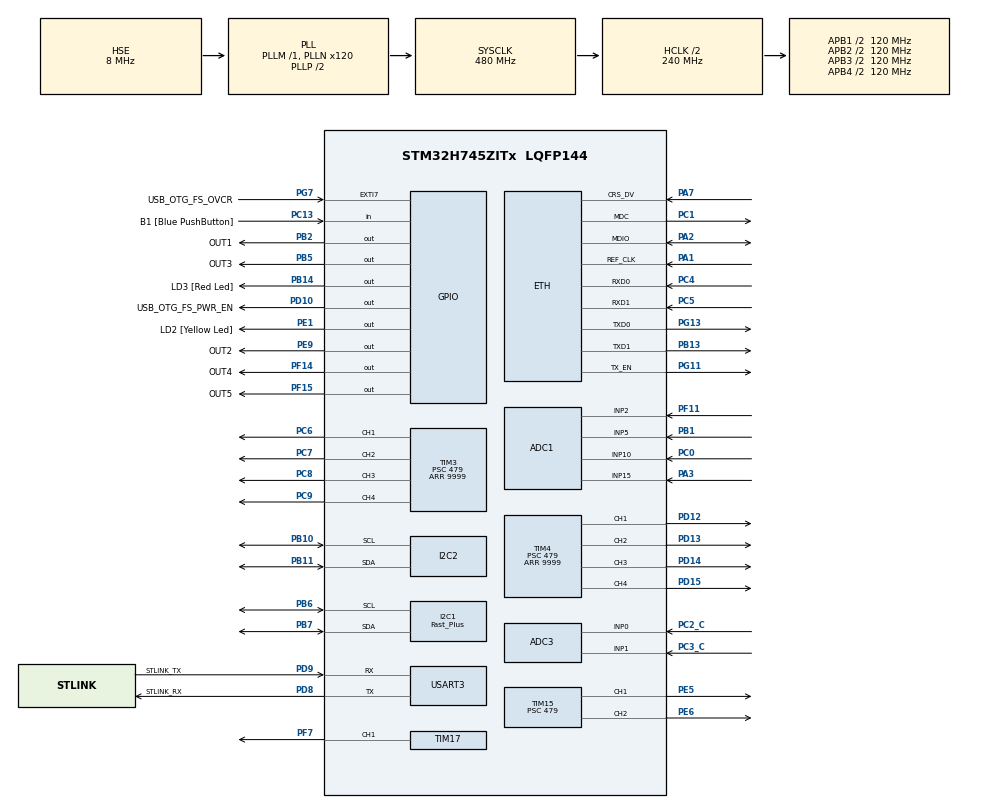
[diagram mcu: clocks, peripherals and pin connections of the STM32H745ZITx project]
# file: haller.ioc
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ADC1.Channel-0\#ChannelRegularConversion=ADC_CHANNEL_15
ADC1.ClockPrescaler=ADC_CLOCK_ASYNC_DIV32
ADC1.ContinuousConvMode=ENABLE
ADC1.NbrOfConversionFlag=1
ADC1.OffsetNumber-0\#ChannelRegularConversion=ADC_OFFSET_NONE
ADC1.OffsetSignedSaturation-0\#ChannelRegularConversion=DISABLE
ADC1.Rank-0\#ChannelRegularConversion=1
ADC1.SamplingTime-0\#ChannelRegularConversion=ADC_SAMPLETIME_1CYCLE_5
ADC1.master=1
ADC3.Channel-2\#ChannelRegularConversion=ADC_CHANNEL_0
ADC3.ClockPrescaler=ADC_CLOCK_ASYNC_DIV32
ADC3.NbrOfConversionFlag=1
ADC3.OffsetNumber-2\#ChannelRegularConversion=ADC_OFFSET_NONE
ADC3.OffsetSignedSaturation-2\#ChannelRegularConversion=DISABLE
ADC3.Rank-2\#ChannelRegularConversion=1
ADC3.SamplingTime-2\#ChannelRegularConversion=ADC_SAMPLETIME_1CYCLE_5
CORTEX_M7.AccessPermission-Cortex_Memory_Protection_Unit_Region0_Settings=MPU_REGION_FULL_ACCESS
CORTEX_M7.AccessPermission-Cortex_Memory_Protection_Unit_Region1_Settings=MPU_REGION_FULL_ACCESS
CORTEX_M7.BaseAddress-Cortex_Memory_Protection_Unit_Region0_Settings=0x30040000
CORTEX_M7.BaseAddress-Cortex_Memory_Protection_Unit_Region1_Settings=0x30040000
CORTEX_M7.CPU_DCache=Enabled
CORTEX_M7.CPU_ICache=Enabled
CORTEX_M7.DisableExec-Cortex_Memory_Protection_Unit_Region0_Settings=MPU_INSTRUCTION_ACCESS_DISABLE
CORTEX_M7.DisableExec-Cortex_Memory_Protection_Unit_Region1_Settings=MPU_INSTRUCTION_ACCESS_DISABLE
CORTEX_M7.Enable-Cortex_Memory_Protection_Unit_Region0_Settings=MPU_REGION_ENABLE
CORTEX_M7.Enable-Cortex_Memory_Protection_Unit_Region1_Settings=MPU_REGION_ENABLE
CORTEX_M7.IsBufferable-Cortex_Memory_Protection_Unit_Region1_Settings=MPU_ACCESS_BUFFERABLE
CORTEX_M7.IsShareable-Cortex_Memory_Protection_Unit_Region1_Settings=MPU_ACCESS_SHAREABLE
CORTEX_M7.MPU_Control=MPU_PRIVILEGED_DEFAULT
CORTEX_M7.Size-Cortex_Memory_Protection_Unit_Region0_Settings=MPU_REGION_SIZE_32KB
CORTEX_M7.Size-Cortex_Memory_Protection_Unit_Region1_Settings=MPU_REGION_SIZE_256B
CORTEX_M7.TypeExtField-Cortex_Memory_Protection_Unit_Region0_Settings=MPU_TEX_LEVEL1
CortexM4.IPs=FATFS_M4\:I,FREERTOS_M4\:I,IWDG2\:I,RCC,WWDG2\:I,DMA,BDMA,MDMA,NVIC2\:I,USART3,ETH,DEBUG,USB_DEVICE_M4\:I,USB_HOST_M4\:I,PDM2PCM_M4\:I,PWR,RESMGR_UTILITY,SYS_M4\:I,CORTEX_M4\:I,OPENAMP_M4\:I,VREFBUF,LWIP
CortexM7.IPs=FATFS_M7\:I,FREERTOS_M7\:I,IWDG1\:I,RCC\:I,WWDG1\:I,DMA\:I,BDMA\:I,MDMA\:I,NVIC1\:I,SYS\:I,USART3\:I,USB_OTG_FS\:I,ETH\:I,CORTEX_M7\:I,DEBUG\:I,USB_DEVICE_M7\:I,USB_HOST_M7\:I,PDM2PCM_M7\:I,PWR\:I,RESMGR_UTILITY\:I,OPENAMP_M7\:I,VREFBUF\:I,LWIP\:I,I2C1\:I,TIM3\:I,TIM15\:I,I2C2\:I,TIM4\:I,TIM17\:I,ADC1\:I,ADC3\:I
ETH.MediaInterface=HAL_ETH_RMII_MODE
I2C1.I2C_Speed_Mode=I2C_Fast_Plus
I2C1.Timing=0x0050174F
I2C2.Timing=0x307075B1
IWDG1.Prescaler=IWDG_PRESCALER_32
LWIP.BSP.number=1
LWIP.IP_ADDRESS=192.168.069.100
LWIP.LWIP_DHCP=0
LWIP.MEMP_NUM_TCP_PCB=2
LWIP.MEMP_NUM_UDP_PCB=2
LWIP.MEM_SIZE=16360
LWIP.NETMASK_ADDRESS=255.255.255.000
LWIP.Version=v2.1.2_Cube
LWIP0.BSP.STBoard=false
LWIP0.BSP.api=BSP_COMPONENT_DRIVER
LWIP0.BSP.component=LAN8742
LWIP0.BSP.instance=LAN8742
LWIP0.BSP.name=Driver_PHY
LWIP0.BSP.solution=LAN8742
Mcu.Family=STM32H7
Mcu.Name=STM32H745ZITx
Mcu.Package=LQFP144
NVIC1.ETH_IRQn=true\:0\:0\:false\:false\:true\:true\:true\:true
NVIC1.I2C1_ER_IRQn=true\:0\:0\:false\:false\:true\:true\:true\:true
NVIC1.I2C1_EV_IRQn=true\:0\:0\:false\:false\:true\:true\:true\:true
NVIC1.PriorityGroup=NVIC_PRIORITYGROUP_4
NVIC2.PriorityGroup=NVIC_PRIORITYGROUP_4
PA1.Mode=RMII
PA1.PinAttribute=CortexM7
PA1.Signal=ETH_REF_CLK
PA13\ (JTMS/SWDIO).Mode=Serial_Wire
PA13\ (JTMS/SWDIO).PinAttribute=CortexM7
PA13\ (JTMS/SWDIO).Signal=DEBUG_JTMS-SWDIO
PA14\ (JTCK/SWCLK).Mode=Serial_Wire
PA14\ (JTCK/SWCLK).PinAttribute=CortexM7
PA14\ (JTCK/SWCLK).Signal=DEBUG_JTCK-SWCLK
PA2.Mode=RMII
PA2.PinAttribute=CortexM7
PA2.Signal=ETH_MDIO
PA3.PinAttribute=CortexM7
PA3.Signal=ADCx_INP15
PA7.Mode=RMII
PA7.PinAttribute=CortexM7
PA7.Signal=ETH_CRS_DV
PB1.PinAttribute=CortexM7
PB1.Signal=ADCx_INP5
PB10.Mode=I2C
PB10.PinAttribute=CortexM7
PB10.Signal=I2C2_SCL
PB11.Mode=I2C
PB11.PinAttribute=CortexM7
PB11.Signal=I2C2_SDA
PB13.Mode=RMII
PB13.PinAttribute=CortexM7
PB13.Signal=ETH_TXD1
PB14.GPIO_Label=LD3 [Red Led]
PB14.PinAttribute=Free
PB14.Signal=GPIO_Output
PB2.GPIO_Label=OUT1
PB2.PinAttribute=Free
PB2.Signal=GPIO_Output
PB5.GPIO_Label=OUT3
PB5.PinAttribute=Free
PB5.Signal=GPIO_Output
PB6.Mode=I2C
PB6.PinAttribute=CortexM7
PB6.Signal=I2C1_SCL
PB7.Mode=I2C
PB7.PinAttribute=CortexM7
PB7.Signal=I2C1_SDA
PC0.PinAttribute=CortexM7
PC0.Signal=ADCx_INP10
PC1.Mode=RMII
PC1.PinAttribute=CortexM7
PC1.Signal=ETH_MDC
PC13.GPIO_Label=B1 [Blue PushButton]
PC13.PinAttribute=Free
PC13.Signal=GPIO_Input
PC14-OSC32_IN\ (OSC32_IN).Mode=LSE-External-Oscillator
PC14-OSC32_IN\ (OSC32_IN).PinAttribute=CortexM7
PC14-OSC32_IN\ (OSC32_IN).Signal=RCC_OSC32_IN
PC15-OSC32_OUT\ (OSC32_OUT).Mode=LSE-External-Oscillator
PC15-OSC32_OUT\ (OSC32_OUT).PinAttribute=CortexM7
PC15-OSC32_OUT\ (OSC32_OUT).Signal=RCC_OSC32_OUT
PC2_C.Mode=IN0-Single-Ended
PC2_C.PinAttribute=CortexM7
PC2_C.Signal=ADC3_INP0
PC3_C.Mode=IN1-Single-Ended
PC3_C.PinAttribute=CortexM7
PC3_C.Signal=ADC3_INP1
PC4.Mode=RMII
PC4.PinAttribute=CortexM7
PC4.Signal=ETH_RXD0
PC5.Mode=RMII
PC5.PinAttribute=CortexM7
PC5.Signal=ETH_RXD1
PC6.PinAttribute=CortexM7
PC6.Signal=S_TIM3_CH1
PC7.PinAttribute=CortexM7
PC7.Signal=S_TIM3_CH2
PC8.PinAttribute=CortexM7
PC8.Signal=S_TIM3_CH3
PC9.PinAttribute=CortexM7
PC9.Signal=S_TIM3_CH4
PD10.GPIO_Label=USB_OTG_FS_PWR_EN
PD10.PinAttribute=Free
PD10.Signal=GPIO_Output
PD12.PinAttribute=CortexM7
PD12.Signal=S_TIM4_CH1
PD13.PinAttribute=CortexM7
PD13.Signal=S_TIM4_CH2
PD14.PinAttribute=CortexM7
PD14.Signal=S_TIM4_CH3
PD15.PinAttribute=CortexM7
PD15.Signal=S_TIM4_CH4
PD8.GPIO_Label=STLINK_RX
PD8.Mode=Asynchronous
PD8.PinAttribute=CortexM7
PD8.Signal=USART3_TX
PD9.GPIO_Label=STLINK_TX
PD9.Mode=Asynchronous
PD9.PinAttribute=CortexM7
PD9.Signal=USART3_RX
PE1.GPIO_Label=LD2 [Yellow Led]
PE1.PinAttribute=Free
PE1.Signal=GPIO_Output
PE5.PinAttribute=CortexM7
PE5.Signal=S_TIM15_CH1
PE6.PinAttribute=CortexM7
PE6.Signal=S_TIM15_CH2
PE9.GPIO_Label=OUT2
PE9.PinAttribute=Free
PE9.Signal=GPIO_Output
PF11.Mode=IN2-Single-Ended
PF11.PinAttribute=CortexM7
PF11.Signal=ADC1_INP2
PF14.GPIO_Label=OUT4
PF14.PinAttribute=Free
PF14.Signal=GPIO_Output
PF15.GPIO_Label=OUT5
PF15.PinAttribute=Free
PF15.Signal=GPIO_Output
PF7.PinAttribute=CortexM7
PF7.Signal=S_TIM17_CH1
PG11.Mode=RMII
PG11.PinAttribute=CortexM7
PG11.Signal=ETH_TX_EN
PG13.Mode=RMII
PG13.PinAttribute=CortexM7
PG13.Signal=ETH_TXD0
PG7.GPIO_Label=USB_OTG_FS_OVCR
PG7.PinAttribute=Free
PG7.Signal=GPXTI7
PH0-OSC_IN\ (PH0).Mode=HSE-External-Clock-Source
PH0-OSC_IN\ (PH0).PinAttribute=CortexM7
PH0-OSC_IN\ (PH0).Signal=RCC_OSC_IN
PH1-OSC_OUT\ (PH1).PinAttribute=CortexM7
PH1-OSC_OUT\ (PH1).Signal=RCC_OSC_OUT
ProjectManager.HeapSize=M4-0x400,M7-0x800
ProjectManager.StackSize=M4-0xf00,M7-0x4000
ProjectManager.TargetToolchain=STM32CubeIDE
RCC.ADCFreq_Value=48000000
RCC.APB1Freq_Value=120000000
RCC.APB2Freq_Value=120000000
RCC.APB3Freq_Value=120000000
RCC.APB4Freq_Value=120000000
RCC.CortexFreq_Value=480000000
RCC.D1PPRE=RCC_APB3_DIV2
RCC.D2PPRE1=RCC_APB1_DIV2
RCC.D2PPRE2=RCC_APB2_DIV2
RCC.D3PPRE=RCC_APB4_DIV2
RCC.DIVM1=1
RCC.DIVM2=1
RCC.DIVM3=1
RCC.DIVN1=120
RCC.DIVN2=120
RCC.DIVN3=24
RCC.DIVP2=20
RCC.DIVQ3=4
RCC.HCLKFreq_Value=240000000
RCC.HPRE=RCC_HCLK_DIV2
RCC.HSE_VALUE=8000000
RCC.PLL2FRACN=0
RCC.PLL3FRACN=0
RCC.PLLFRACN=0
RCC.PLLSourceVirtual=RCC_PLLSOURCE_HSE
RCC.SYSCLKFreq_VALUE=480000000
RCC.SYSCLKSource=RCC_SYSCLKSOURCE_PLLCLK
RCC.SupplySource=PWR_DIRECT_SMPS_SUPPLY
RCC.USBCLockSelection=RCC_USBCLKSOURCE_PLL3
RCC.USBFreq_Value=48000000
SH.ADCx_INP10.0=ADC1_INP10,IN10-Single-Ended
SH.ADCx_INP15.0=ADC1_INP15,IN15-Single-Ended
SH.ADCx_INP5.0=ADC1_INP5,IN5-Single-Ended
SH.S_TIM15_CH1.0=TIM15_CH1,PWM Generation1 CH1
SH.S_TIM15_CH2.0=TIM15_CH2,PWM Generation2 CH2
SH.S_TIM17_CH1.0=TIM17_CH1,PWM Generation1 CH1
SH.S_TIM3_CH1.0=TIM3_CH1,PWM Generation1 CH1
SH.S_TIM3_CH2.0=TIM3_CH2,PWM Generation2 CH2
SH.S_TIM3_CH3.0=TIM3_CH3,PWM Generation3 CH3
SH.S_TIM3_CH4.0=TIM3_CH4,PWM Generation4 CH4
SH.S_TIM4_CH1.0=TIM4_CH1,PWM Generation1 CH1
SH.S_TIM4_CH2.0=TIM4_CH2,PWM Generation2 CH2
SH.S_TIM4_CH3.0=TIM4_CH3,PWM Generation3 CH3
SH.S_TIM4_CH4.0=TIM4_CH4,PWM Generation4 CH4
TIM15.Channel-PWM\ Generation1\ CH1=TIM_CHANNEL_1
TIM15.Channel-PWM\ Generation2\ CH2=TIM_CHANNEL_2
TIM15.Period=9999
TIM15.Prescaler=479
TIM17.Channel=TIM_CHANNEL_1
TIM17.Period=9999
TIM17.Prescaler=479
TIM3.Channel-PWM\ Generation1\ CH1=TIM_CHANNEL_1
TIM3.Channel-PWM\ Generation2\ CH2=TIM_CHANNEL_2
TIM3.Channel-PWM\ Generation3\ CH3=TIM_CHANNEL_3
TIM3.Channel-PWM\ Generation4\ CH4=TIM_CHANNEL_4
TIM3.Period=9999
TIM3.Prescaler=479
TIM4.Channel-PWM\ Generation1\ CH1=TIM_CHANNEL_1
TIM4.Channel-PWM\ Generation2\ CH2=TIM_CHANNEL_2
TIM4.Channel-PWM\ Generation3\ CH3=TIM_CHANNEL_3
TIM4.Channel-PWM\ Generation4\ CH4=TIM_CHANNEL_4
TIM4.Period=9999
TIM4.Prescaler=479
USART3.VirtualMode-Asynchronous=VM_ASYNC
VP_IWDG1_VS_IWDG.Mode=IWDG_Activate
VP_LWIP_VS_Enabled.Mode=Enabled
VP_SYS_M4_VS_Systick.Mode=SysTick
VP_TIM17_VS_ClockSourceINT.Mode=Enable_Timer
board=NUCLEO-H745ZI-Q

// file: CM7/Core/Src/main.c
/* USER CODE BEGIN Header */
/**
  ******************************************************************************
  * @file           : main.c
  * @brief          : Main program body
  ******************************************************************************
  * @attention
  *
  * <h2><center>&copy; Copyright (c) 2024 STMicroelectronics.
  * All rights reserved.</center></h2>
  *
  * This software component is licensed by ST under Ultimate Liberty license
  * SLA0044, the "License"; You may not use this file except in compliance with
  * the License. You may obtain a copy of the License at:
  *                             www.st.com/SLA0044
  *
  ******************************************************************************
  */
/* USER CODE END Header */
#include "main.h"
#include "lwip.h"

/* USER CODE BEGIN Includes */
#include "lan.h"
#include "proto.h"
#include "motor.h"
#include "servo.h"
#include "pwm.h"
#include "gripper.h"
/* USER CODE END Includes */

/* USER CODE BEGIN PD */

#ifndef HSEM_ID_0
#define HSEM_ID_0 (0U) /* HW semaphore 0*/
#endif
/* USER CODE END PD */

ADC_HandleTypeDef hadc1;
ADC_HandleTypeDef hadc3;

I2C_HandleTypeDef hi2c1;
I2C_HandleTypeDef hi2c2;

IWDG_HandleTypeDef hiwdg1;

TIM_HandleTypeDef htim3;
TIM_HandleTypeDef htim4;
TIM_HandleTypeDef htim15;
TIM_HandleTypeDef htim17;

UART_HandleTypeDef huart3;

void SystemClock_Config(void);
void PeriphCommonClock_Config(void);
static void MPU_Config(void);
static void MX_GPIO_Init(void);
static void MX_USART3_UART_Init(void);
static void MX_I2C1_Init(void);
static void MX_TIM3_Init(void);
static void MX_TIM15_Init(void);
static void MX_IWDG1_Init(void);
static void MX_I2C2_Init(void);
static void MX_ADC1_Init(void);
static void MX_ADC3_Init(void);
static void MX_TIM4_Init(void);
static void MX_TIM17_Init(void);

int main(void)
{
/* USER CODE BEGIN Boot_Mode_Sequence_0 */
  int32_t timeout;
/* USER CODE END Boot_Mode_Sequence_0 */

  /* MPU Configuration--------------------------------------------------------*/
  MPU_Config();

  /* Enable I-Cache---------------------------------------------------------*/
  SCB_EnableICache();

  /* Enable D-Cache---------------------------------------------------------*/
  SCB_EnableDCache();

/* USER CODE BEGIN Boot_Mode_Sequence_1 */
  /* Wait until CPU2 boots and enters in stop mode or timeout*/
  timeout = 0xFFFF;
//  while((__HAL_RCC_GET_FLAG(RCC_FLAG_D2CKRDY) != RESET) && (timeout-- > 0));
//  if ( timeout < 0 )
//  {
//  Error_Handler();
//  }
/* USER CODE END Boot_Mode_Sequence_1 */
  /* MCU Configuration--------------------------------------------------------*/

  /* Reset of all peripherals, Initializes the Flash interface and the Systick. */
  HAL_Init();

  /* Configure the system clock */
  SystemClock_Config();

/* Configure the peripherals common clocks */
  PeriphCommonClock_Config();
/* USER CODE BEGIN Boot_Mode_Sequence_2 */
/* When system initialization is finished, Cortex-M7 will release Cortex-M4 by means of
HSEM notification */
/*HW semaphore Clock enable*/
__HAL_RCC_HSEM_CLK_ENABLE();
/*Take HSEM */
HAL_HSEM_FastTake(HSEM_ID_0);
/*Release HSEM in order to notify the CPU2(CM4)*/
HAL_HSEM_Release(HSEM_ID_0,0);
/* wait until CPU2 wakes up from stop mode */
timeout = 0xFFFF;
while((__HAL_RCC_GET_FLAG(RCC_FLAG_D2CKRDY) == RESET) && (timeout-- > 0));
if ( timeout < 0 )
{
Error_Handler();
}
/* USER CODE END Boot_Mode_Sequence_2 */

  /* Initialize all configured peripherals */
  MX_GPIO_Init();
  MX_USART3_UART_Init();
  MX_LWIP_Init();
  MX_I2C1_Init();
  MX_TIM3_Init();
  MX_TIM15_Init();
  MX_IWDG1_Init();
  MX_I2C2_Init();
  MX_ADC1_Init();
  MX_ADC3_Init();
  MX_TIM4_Init();
  MX_TIM17_Init();
  /* USER CODE BEGIN 2 */
  HAL_IWDG_Refresh(&hiwdg1);
  MX_LWIP_Refresh();

  PwmInit();
  LanInit(&ProtoParse);
  MotorInit();
  ServoInit();
  GripperInit();
  /* USER CODE END 2 */

  /* Infinite loop */
  /* USER CODE BEGIN WHILE */
  while (1)
  {
	  HAL_IWDG_Refresh(&hiwdg1);
	  MX_LWIP_Refresh();
    /* USER CODE END WHILE */

  }
}

void SystemClock_Config(void)
{
  RCC_OscInitTypeDef RCC_OscInitStruct = {0};
  RCC_ClkInitTypeDef RCC_ClkInitStruct = {0};

  /** Supply configuration update enable
  */
  HAL_PWREx_ConfigSupply(PWR_DIRECT_SMPS_SUPPLY);
  /** Configure the main internal regulator output voltage
  */
  __HAL_PWR_VOLTAGESCALING_CONFIG(PWR_REGULATOR_VOLTAGE_SCALE0);

  while(!__HAL_PWR_GET_FLAG(PWR_FLAG_VOSRDY)) {}
  /** Macro to configure the PLL clock source
  */
  __HAL_RCC_PLL_PLLSOURCE_CONFIG(RCC_PLLSOURCE_HSE);
  /** Initializes the RCC Oscillators according to the specified parameters
  * in the RCC_OscInitTypeDef structure.
  */
  RCC_OscInitStruct.OscillatorType = RCC_OSCILLATORTYPE_LSI|RCC_OSCILLATORTYPE_HSE;
  RCC_OscInitStruct.HSEState = RCC_HSE_BYPASS;
  RCC_OscInitStruct.LSIState = RCC_LSI_ON;
  RCC_OscInitStruct.PLL.PLLState = RCC_PLL_ON;
  RCC_OscInitStruct.PLL.PLLSource = RCC_PLLSOURCE_HSE;
  RCC_OscInitStruct.PLL.PLLM = 1;
  RCC_OscInitStruct.PLL.PLLN = 120;
  RCC_OscInitStruct.PLL.PLLP = 2;
  RCC_OscInitStruct.PLL.PLLQ = 2;
  RCC_OscInitStruct.PLL.PLLR = 2;
  RCC_OscInitStruct.PLL.PLLRGE = RCC_PLL1VCIRANGE_3;
  RCC_OscInitStruct.PLL.PLLVCOSEL = RCC_PLL1VCOWIDE;
  RCC_OscInitStruct.PLL.PLLFRACN = 0;
  if (HAL_RCC_OscConfig(&RCC_OscInitStruct) != HAL_OK)
  {
    Error_Handler();
  }
  /** Initializes the CPU, AHB and APB buses clocks
  */
  RCC_ClkInitStruct.ClockType = RCC_CLOCKTYPE_HCLK|RCC_CLOCKTYPE_SYSCLK
                              |RCC_CLOCKTYPE_PCLK1|RCC_CLOCKTYPE_PCLK2
                              |RCC_CLOCKTYPE_D3PCLK1|RCC_CLOCKTYPE_D1PCLK1;
  RCC_ClkInitStruct.SYSCLKSource = RCC_SYSCLKSOURCE_PLLCLK;
  RCC_ClkInitStruct.SYSCLKDivider = RCC_SYSCLK_DIV1;
  RCC_ClkInitStruct.AHBCLKDivider = RCC_HCLK_DIV2;
  RCC_ClkInitStruct.APB3CLKDivider = RCC_APB3_DIV2;
  RCC_ClkInitStruct.APB1CLKDivider = RCC_APB1_DIV2;
  RCC_ClkInitStruct.APB2CLKDivider = RCC_APB2_DIV2;
  RCC_ClkInitStruct.APB4CLKDivider = RCC_APB4_DIV2;

  if (HAL_RCC_ClockConfig(&RCC_ClkInitStruct, FLASH_LATENCY_4) != HAL_OK)
  {
    Error_Handler();
  }
}

void PeriphCommonClock_Config(void)
{
  RCC_PeriphCLKInitTypeDef PeriphClkInitStruct = {0};

  /** Initializes the peripherals clock
  */
  PeriphClkInitStruct.PeriphClockSelection = RCC_PERIPHCLK_ADC;
  PeriphClkInitStruct.PLL2.PLL2M = 1;
  PeriphClkInitStruct.PLL2.PLL2N = 120;
  PeriphClkInitStruct.PLL2.PLL2P = 20;
  PeriphClkInitStruct.PLL2.PLL2Q = 2;
  PeriphClkInitStruct.PLL2.PLL2R = 2;
  PeriphClkInitStruct.PLL2.PLL2RGE = RCC_PLL2VCIRANGE_3;
  PeriphClkInitStruct.PLL2.PLL2VCOSEL = RCC_PLL2VCOWIDE;
  PeriphClkInitStruct.PLL2.PLL2FRACN = 0;
  PeriphClkInitStruct.AdcClockSelection = RCC_ADCCLKSOURCE_PLL2;
  if (HAL_RCCEx_PeriphCLKConfig(&PeriphClkInitStruct) != HAL_OK)
  {
    Error_Handler();
  }
}

static void MX_ADC1_Init(void)
{

  ADC_MultiModeTypeDef multimode = {0};
  ADC_ChannelConfTypeDef sConfig = {0};

  /** Common config
  */
  hadc1.Instance = ADC1;
  hadc1.Init.ClockPrescaler = ADC_CLOCK_ASYNC_DIV32;
  hadc1.Init.Resolution = ADC_RESOLUTION_16B;
  hadc1.Init.ScanConvMode = ADC_SCAN_DISABLE;
  hadc1.Init.EOCSelection = ADC_EOC_SINGLE_CONV;
  hadc1.Init.LowPowerAutoWait = DISABLE;
  hadc1.Init.ContinuousConvMode = ENABLE;
  hadc1.Init.NbrOfConversion = 1;
  hadc1.Init.DiscontinuousConvMode = DISABLE;
  hadc1.Init.ExternalTrigConv = ADC_SOFTWARE_START;
  hadc1.Init.ExternalTrigConvEdge = ADC_EXTERNALTRIGCONVEDGE_NONE;
  hadc1.Init.ConversionDataManagement = ADC_CONVERSIONDATA_DR;
  hadc1.Init.Overrun = ADC_OVR_DATA_PRESERVED;
  hadc1.Init.LeftBitShift = ADC_LEFTBITSHIFT_NONE;
  hadc1.Init.OversamplingMode = DISABLE;
  if (HAL_ADC_Init(&hadc1) != HAL_OK)
  {
    Error_Handler();
  }
  /** Configure the ADC multi-mode
  */
  multimode.Mode = ADC_MODE_INDEPENDENT;
  if (HAL_ADCEx_MultiModeConfigChannel(&hadc1, &multimode) != HAL_OK)
  {
    Error_Handler();
  }
  /** Configure Regular Channel
  */
  sConfig.Channel = ADC_CHANNEL_15;
  sConfig.Rank = ADC_REGULAR_RANK_1;
  sConfig.SamplingTime = ADC_SAMPLETIME_1CYCLE_5;
  sConfig.SingleDiff = ADC_SINGLE_ENDED;
  sConfig.OffsetNumber = ADC_OFFSET_NONE;
  sConfig.Offset = 0;
  sConfig.OffsetSignedSaturation = DISABLE;
  if (HAL_ADC_ConfigChannel(&hadc1, &sConfig) != HAL_OK)
  {
    Error_Handler();
  }

}

static void MX_ADC3_Init(void)
{

  ADC_ChannelConfTypeDef sConfig = {0};

  /** Common config
  */
  hadc3.Instance = ADC3;
  hadc3.Init.ClockPrescaler = ADC_CLOCK_ASYNC_DIV32;
  hadc3.Init.Resolution = ADC_RESOLUTION_16B;
  hadc3.Init.ScanConvMode = ADC_SCAN_DISABLE;
  hadc3.Init.EOCSelection = ADC_EOC_SINGLE_CONV;
  hadc3.Init.LowPowerAutoWait = DISABLE;
  hadc3.Init.ContinuousConvMode = DISABLE;
  hadc3.Init.NbrOfConversion = 1;
  hadc3.Init.DiscontinuousConvMode = DISABLE;
  hadc3.Init.ExternalTrigConv = ADC_SOFTWARE_START;
  hadc3.Init.ExternalTrigConvEdge = ADC_EXTERNALTRIGCONVEDGE_NONE;
  hadc3.Init.ConversionDataManagement = ADC_CONVERSIONDATA_DR;
  hadc3.Init.Overrun = ADC_OVR_DATA_PRESERVED;
  hadc3.Init.LeftBitShift = ADC_LEFTBITSHIFT_NONE;
  hadc3.Init.OversamplingMode = DISABLE;
  if (HAL_ADC_Init(&hadc3) != HAL_OK)
  {
    Error_Handler();
  }
  /** Configure Regular Channel
  */
  sConfig.Channel = ADC_CHANNEL_0;
  sConfig.Rank = ADC_REGULAR_RANK_1;
  sConfig.SamplingTime = ADC_SAMPLETIME_1CYCLE_5;
  sConfig.SingleDiff = ADC_SINGLE_ENDED;
  sConfig.OffsetNumber = ADC_OFFSET_NONE;
  sConfig.Offset = 0;
  sConfig.OffsetSignedSaturation = DISABLE;
  if (HAL_ADC_ConfigChannel(&hadc3, &sConfig) != HAL_OK)
  {
    Error_Handler();
  }

}

static void MX_I2C1_Init(void)
{

  hi2c1.Instance = I2C1;
  hi2c1.Init.Timing = 0x0050174F;
  hi2c1.Init.OwnAddress1 = 0;
  hi2c1.Init.AddressingMode = I2C_ADDRESSINGMODE_7BIT;
  hi2c1.Init.DualAddressMode = I2C_DUALADDRESS_DISABLE;
  hi2c1.Init.OwnAddress2 = 0;
  hi2c1.Init.OwnAddress2Masks = I2C_OA2_NOMASK;
  hi2c1.Init.GeneralCallMode = I2C_GENERALCALL_DISABLE;
  hi2c1.Init.NoStretchMode = I2C_NOSTRETCH_DISABLE;
  if (HAL_I2C_Init(&hi2c1) != HAL_OK)
  {
    Error_Handler();
  }
  /** Configure Analogue filter
  */
  if (HAL_I2CEx_ConfigAnalogFilter(&hi2c1, I2C_ANALOGFILTER_ENABLE) != HAL_OK)
  {
    Error_Handler();
  }
  /** Configure Digital filter
  */
  if (HAL_I2CEx_ConfigDigitalFilter(&hi2c1, 0) != HAL_OK)
  {
    Error_Handler();
  }
  /** I2C Enable Fast Mode Plus
  */
  HAL_I2CEx_EnableFastModePlus(I2C_FASTMODEPLUS_I2C1);

}

static void MX_I2C2_Init(void)
{

  hi2c2.Instance = I2C2;
  hi2c2.Init.Timing = 0x307075B1;
  hi2c2.Init.OwnAddress1 = 0;
  hi2c2.Init.AddressingMode = I2C_ADDRESSINGMODE_7BIT;
  hi2c2.Init.DualAddressMode = I2C_DUALADDRESS_DISABLE;
  hi2c2.Init.OwnAddress2 = 0;
  hi2c2.Init.OwnAddress2Masks = I2C_OA2_NOMASK;
  hi2c2.Init.GeneralCallMode = I2C_GENERALCALL_DISABLE;
  hi2c2.Init.NoStretchMode = I2C_NOSTRETCH_DISABLE;
  if (HAL_I2C_Init(&hi2c2) != HAL_OK)
  {
    Error_Handler();
  }
  /** Configure Analogue filter
  */
  if (HAL_I2CEx_ConfigAnalogFilter(&hi2c2, I2C_ANALOGFILTER_ENABLE) != HAL_OK)
  {
    Error_Handler();
  }
  /** Configure Digital filter
  */
  if (HAL_I2CEx_ConfigDigitalFilter(&hi2c2, 0) != HAL_OK)
  {
    Error_Handler();
  }

}

static void MX_IWDG1_Init(void)
{

  hiwdg1.Instance = IWDG1;
  hiwdg1.Init.Prescaler = IWDG_PRESCALER_32;
  hiwdg1.Init.Window = 4095;
  hiwdg1.Init.Reload = 4095;
  if (HAL_IWDG_Init(&hiwdg1) != HAL_OK)
  {
    Error_Handler();
  }

}

static void MX_TIM3_Init(void)
{

  TIM_MasterConfigTypeDef sMasterConfig = {0};
  TIM_OC_InitTypeDef sConfigOC = {0};

  htim3.Instance = TIM3;
  htim3.Init.Prescaler = 479;
  htim3.Init.CounterMode = TIM_COUNTERMODE_UP;
  htim3.Init.Period = 9999;
  htim3.Init.ClockDivision = TIM_CLOCKDIVISION_DIV1;
  htim3.Init.AutoReloadPreload = TIM_AUTORELOAD_PRELOAD_DISABLE;
  if (HAL_TIM_PWM_Init(&htim3) != HAL_OK)
  {
    Error_Handler();
  }
  sMasterConfig.MasterOutputTrigger = TIM_TRGO_RESET;
  sMasterConfig.MasterSlaveMode = TIM_MASTERSLAVEMODE_DISABLE;
  if (HAL_TIMEx_MasterConfigSynchronization(&htim3, &sMasterConfig) != HAL_OK)
  {
    Error_Handler();
  }
  sConfigOC.OCMode = TIM_OCMODE_PWM1;
  sConfigOC.Pulse = 0;
  sConfigOC.OCPolarity = TIM_OCPOLARITY_HIGH;
  sConfigOC.OCFastMode = TIM_OCFAST_DISABLE;
  if (HAL_TIM_PWM_ConfigChannel(&htim3, &sConfigOC, TIM_CHANNEL_1) != HAL_OK)
  {
    Error_Handler();
  }
  if (HAL_TIM_PWM_ConfigChannel(&htim3, &sConfigOC, TIM_CHANNEL_2) != HAL_OK)
  {
    Error_Handler();
  }
  if (HAL_TIM_PWM_ConfigChannel(&htim3, &sConfigOC, TIM_CHANNEL_3) != HAL_OK)
  {
    Error_Handler();
  }
  if (HAL_TIM_PWM_ConfigChannel(&htim3, &sConfigOC, TIM_CHANNEL_4) != HAL_OK)
  {
    Error_Handler();
  }
  /* USER CODE BEGIN TIM3_Init 2 */
  HAL_TIM_PWM_Start(&htim3, TIM_CHANNEL_1);
  HAL_TIM_PWM_Start(&htim3, TIM_CHANNEL_2);
  HAL_TIM_PWM_Start(&htim3, TIM_CHANNEL_3);
  HAL_TIM_PWM_Start(&htim3, TIM_CHANNEL_4);

  /* USER CODE END TIM3_Init 2 */
  HAL_TIM_MspPostInit(&htim3);

}

static void MX_TIM4_Init(void)
{

  TIM_MasterConfigTypeDef sMasterConfig = {0};
  TIM_OC_InitTypeDef sConfigOC = {0};

  htim4.Instance = TIM4;
  htim4.Init.Prescaler = 479;
  htim4.Init.CounterMode = TIM_COUNTERMODE_UP;
  htim4.Init.Period = 9999;
  htim4.Init.ClockDivision = TIM_CLOCKDIVISION_DIV1;
  htim4.Init.AutoReloadPreload = TIM_AUTORELOAD_PRELOAD_DISABLE;
  if (HAL_TIM_PWM_Init(&htim4) != HAL_OK)
  {
    Error_Handler();
  }
  sMasterConfig.MasterOutputTrigger = TIM_TRGO_RESET;
  sMasterConfig.MasterSlaveMode = TIM_MASTERSLAVEMODE_DISABLE;
  if (HAL_TIMEx_MasterConfigSynchronization(&htim4, &sMasterConfig) != HAL_OK)
  {
    Error_Handler();
  }
  sConfigOC.OCMode = TIM_OCMODE_PWM1;
  sConfigOC.Pulse = 0;
  sConfigOC.OCPolarity = TIM_OCPOLARITY_HIGH;
  sConfigOC.OCFastMode = TIM_OCFAST_DISABLE;
  if (HAL_TIM_PWM_ConfigChannel(&htim4, &sConfigOC, TIM_CHANNEL_1) != HAL_OK)
  {
    Error_Handler();
  }
  if (HAL_TIM_PWM_ConfigChannel(&htim4, &sConfigOC, TIM_CHANNEL_2) != HAL_OK)
  {
    Error_Handler();
  }
  if (HAL_TIM_PWM_ConfigChannel(&htim4, &sConfigOC, TIM_CHANNEL_3) != HAL_OK)
  {
    Error_Handler();
  }
  if (HAL_TIM_PWM_ConfigChannel(&htim4, &sConfigOC, TIM_CHANNEL_4) != HAL_OK)
  {
    Error_Handler();
  }
  /* USER CODE BEGIN TIM4_Init 2 */
  HAL_TIM_PWM_Start(&htim4, TIM_CHANNEL_1);
  HAL_TIM_PWM_Start(&htim4, TIM_CHANNEL_2);
  HAL_TIM_PWM_Start(&htim4, TIM_CHANNEL_3);
  HAL_TIM_PWM_Start(&htim4, TIM_CHANNEL_4);
  /* USER CODE END TIM4_Init 2 */
  HAL_TIM_MspPostInit(&htim4);

}

static void MX_TIM15_Init(void)
{

  TIM_MasterConfigTypeDef sMasterConfig = {0};
  TIM_OC_InitTypeDef sConfigOC = {0};
  TIM_BreakDeadTimeConfigTypeDef sBreakDeadTimeConfig = {0};

  htim15.Instance = TIM15;
  htim15.Init.Prescaler = 479;
  htim15.Init.CounterMode = TIM_COUNTERMODE_UP;
  htim15.Init.Period = 9999;
  htim15.Init.ClockDivision = TIM_CLOCKDIVISION_DIV1;
  htim15.Init.RepetitionCounter = 0;
  htim15.Init.AutoReloadPreload = TIM_AUTORELOAD_PRELOAD_DISABLE;
  if (HAL_TIM_PWM_Init(&htim15) != HAL_OK)
  {
    Error_Handler();
  }
  sMasterConfig.MasterOutputTrigger = TIM_TRGO_RESET;
  sMasterConfig.MasterSlaveMode = TIM_MASTERSLAVEMODE_DISABLE;
  if (HAL_TIMEx_MasterConfigSynchronization(&htim15, &sMasterConfig) != HAL_OK)
  {
    Error_Handler();
  }
  sConfigOC.OCMode = TIM_OCMODE_PWM1;
  sConfigOC.Pulse = 0;
  sConfigOC.OCPolarity = TIM_OCPOLARITY_HIGH;
  sConfigOC.OCNPolarity = TIM_OCNPOLARITY_HIGH;
  sConfigOC.OCFastMode = TIM_OCFAST_DISABLE;
  sConfigOC.OCIdleState = TIM_OCIDLESTATE_RESET;
  sConfigOC.OCNIdleState = TIM_OCNIDLESTATE_RESET;
  if (HAL_TIM_PWM_ConfigChannel(&htim15, &sConfigOC, TIM_CHANNEL_1) != HAL_OK)
  {
    Error_Handler();
  }
  if (HAL_TIM_PWM_ConfigChannel(&htim15, &sConfigOC, TIM_CHANNEL_2) != HAL_OK)
  {
    Error_Handler();
  }
  sBreakDeadTimeConfig.OffStateRunMode = TIM_OSSR_DISABLE;
  sBreakDeadTimeConfig.OffStateIDLEMode = TIM_OSSI_DISABLE;
  sBreakDeadTimeConfig.LockLevel = TIM_LOCKLEVEL_OFF;
  sBreakDeadTimeConfig.DeadTime = 0;
  sBreakDeadTimeConfig.BreakState = TIM_BREAK_DISABLE;
  sBreakDeadTimeConfig.BreakPolarity = TIM_BREAKPOLARITY_HIGH;
  sBreakDeadTimeConfig.BreakFilter = 0;
  sBreakDeadTimeConfig.AutomaticOutput = TIM_AUTOMATICOUTPUT_DISABLE;
  if (HAL_TIMEx_ConfigBreakDeadTime(&htim15, &sBreakDeadTimeConfig) != HAL_OK)
  {
    Error_Handler();
  }
  /* USER CODE BEGIN TIM15_Init 2 */
  HAL_TIM_PWM_Start(&htim15, TIM_CHANNEL_1);
  HAL_TIM_PWM_Start(&htim15, TIM_CHANNEL_2);
  /* USER CODE END TIM15_Init 2 */
  HAL_TIM_MspPostInit(&htim15);

}

static void MX_TIM17_Init(void)
{

  TIM_OC_InitTypeDef sConfigOC = {0};
  TIM_BreakDeadTimeConfigTypeDef sBreakDeadTimeConfig = {0};

  htim17.Instance = TIM17;
  htim17.Init.Prescaler = 479;
  htim17.Init.CounterMode = TIM_COUNTERMODE_UP;
  htim17.Init.Period = 9999;
  htim17.Init.ClockDivision = TIM_CLOCKDIVISION_DIV1;
  htim17.Init.RepetitionCounter = 0;
  htim17.Init.AutoReloadPreload = TIM_AUTORELOAD_PRELOAD_DISABLE;
  if (HAL_TIM_Base_Init(&htim17) != HAL_OK)
  {
    Error_Handler();
  }
  if (HAL_TIM_PWM_Init(&htim17) != HAL_OK)
  {
    Error_Handler();
  }
  sConfigOC.OCMode = TIM_OCMODE_PWM1;
  sConfigOC.Pulse = 0;
  sConfigOC.OCPolarity = TIM_OCPOLARITY_HIGH;
  sConfigOC.OCNPolarity = TIM_OCNPOLARITY_HIGH;
  sConfigOC.OCFastMode = TIM_OCFAST_DISABLE;
  sConfigOC.OCIdleState = TIM_OCIDLESTATE_RESET;
  sConfigOC.OCNIdleState = TIM_OCNIDLESTATE_RESET;
  if (HAL_TIM_PWM_ConfigChannel(&htim17, &sConfigOC, TIM_CHANNEL_1) != HAL_OK)
  {
    Error_Handler();
  }
  sBreakDeadTimeConfig.OffStateRunMode = TIM_OSSR_DISABLE;
  sBreakDeadTimeConfig.OffStateIDLEMode = TIM_OSSI_DISABLE;
  sBreakDeadTimeConfig.LockLevel = TIM_LOCKLEVEL_OFF;
  sBreakDeadTimeConfig.DeadTime = 0;
  sBreakDeadTimeConfig.BreakState = TIM_BREAK_DISABLE;
  sBreakDeadTimeConfig.BreakPolarity = TIM_BREAKPOLARITY_HIGH;
  sBreakDeadTimeConfig.BreakFilter = 0;
  sBreakDeadTimeConfig.AutomaticOutput = TIM_AUTOMATICOUTPUT_DISABLE;
  if (HAL_TIMEx_ConfigBreakDeadTime(&htim17, &sBreakDeadTimeConfig) != HAL_OK)
  {
    Error_Handler();
  }
  /* USER CODE BEGIN TIM17_Init 2 */
  HAL_TIM_PWM_Start(&htim17, TIM_CHANNEL_1);
  /* USER CODE END TIM17_Init 2 */
  HAL_TIM_MspPostInit(&htim17);

}

static void MX_USART3_UART_Init(void)
{

  huart3.Instance = USART3;
  huart3.Init.BaudRate = 115200;
  huart3.Init.WordLength = UART_WORDLENGTH_8B;
  huart3.Init.StopBits = UART_STOPBITS_1;
  huart3.Init.Parity = UART_PARITY_NONE;
  huart3.Init.Mode = UART_MODE_TX_RX;
  huart3.Init.HwFlowCtl = UART_HWCONTROL_NONE;
  huart3.Init.OverSampling = UART_OVERSAMPLING_16;
  huart3.Init.OneBitSampling = UART_ONE_BIT_SAMPLE_DISABLE;
  huart3.Init.ClockPrescaler = UART_PRESCALER_DIV1;
  huart3.AdvancedInit.AdvFeatureInit = UART_ADVFEATURE_NO_INIT;
  if (HAL_UART_Init(&huart3) != HAL_OK)
  {
    Error_Handler();
  }
  if (HAL_UARTEx_SetTxFifoThreshold(&huart3, UART_TXFIFO_THRESHOLD_1_8) != HAL_OK)
  {
    Error_Handler();
  }
  if (HAL_UARTEx_SetRxFifoThreshold(&huart3, UART_RXFIFO_THRESHOLD_1_8) != HAL_OK)
  {
    Error_Handler();
  }
  if (HAL_UARTEx_DisableFifoMode(&huart3) != HAL_OK)
  {
    Error_Handler();
  }

}

static void MX_GPIO_Init(void)
{

  /* GPIO Ports Clock Enable */
  __HAL_RCC_GPIOE_CLK_ENABLE();
  __HAL_RCC_GPIOC_CLK_ENABLE();
  __HAL_RCC_GPIOF_CLK_ENABLE();
  __HAL_RCC_GPIOH_CLK_ENABLE();
  __HAL_RCC_GPIOA_CLK_ENABLE();
  __HAL_RCC_GPIOB_CLK_ENABLE();
  __HAL_RCC_GPIOD_CLK_ENABLE();
  __HAL_RCC_GPIOG_CLK_ENABLE();

}

/* MPU Configuration */

void MPU_Config(void)
{
  MPU_Region_InitTypeDef MPU_InitStruct = {0};

  /* Disables the MPU */
  HAL_MPU_Disable();
  /** Initializes and configures the Region and the memory to be protected
  */
  MPU_InitStruct.Enable = MPU_REGION_ENABLE;
  MPU_InitStruct.Number = MPU_REGION_NUMBER0;
  MPU_InitStruct.BaseAddress = 0x30040000;
  MPU_InitStruct.Size = MPU_REGION_SIZE_32KB;
  MPU_InitStruct.SubRegionDisable = 0x0;
  MPU_InitStruct.TypeExtField = MPU_TEX_LEVEL1;
  MPU_InitStruct.AccessPermission = MPU_REGION_FULL_ACCESS;
  MPU_InitStruct.DisableExec = MPU_INSTRUCTION_ACCESS_DISABLE;
  MPU_InitStruct.IsShareable = MPU_ACCESS_NOT_SHAREABLE;
  MPU_InitStruct.IsCacheable = MPU_ACCESS_NOT_CACHEABLE;
  MPU_InitStruct.IsBufferable = MPU_ACCESS_NOT_BUFFERABLE;

  HAL_MPU_ConfigRegion(&MPU_InitStruct);
  /** Initializes and configures the Region and the memory to be protected
  */
  MPU_InitStruct.Number = MPU_REGION_NUMBER1;
  MPU_InitStruct.Size = MPU_REGION_SIZE_256B;
  MPU_InitStruct.TypeExtField = MPU_TEX_LEVEL0;
  MPU_InitStruct.IsShareable = MPU_ACCESS_SHAREABLE;
  MPU_InitStruct.IsBufferable = MPU_ACCESS_BUFFERABLE;

  HAL_MPU_ConfigRegion(&MPU_InitStruct);
  /* Enables the MPU */
  HAL_MPU_Enable(MPU_PRIVILEGED_DEFAULT);

}

void Error_Handler(void)
{
  __disable_irq();
  while (1)
  {
  }
}

/************************ (C) COPYRIGHT STMicroelectronics *****END OF FILE****/
